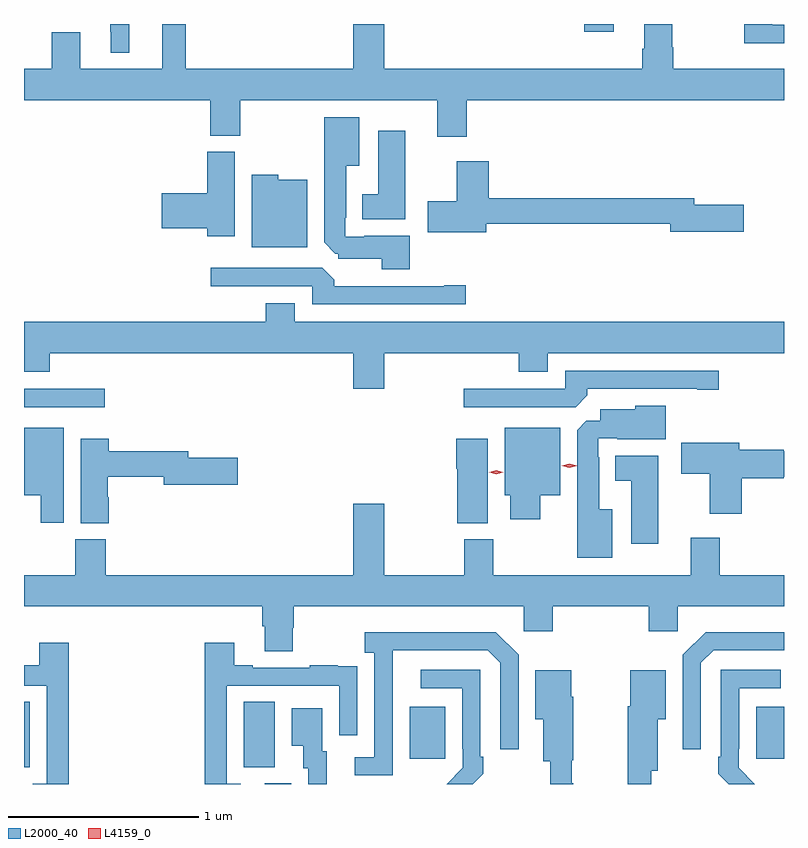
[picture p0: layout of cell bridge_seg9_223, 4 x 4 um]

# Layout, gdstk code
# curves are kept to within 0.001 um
import gdstk
lib = gdstk.Library(unit=1e-6, precision=1e-09)
def R(c, l, rs):  # rectangles x0, y0, x1, y1
    for r in rs: c.add(gdstk.rectangle(r[:2], r[2:], *l))
def P(c, l, *ps):  # polygons
    for p in ps: c.add(gdstk.Polygon(p, *l))
L2000_40 = (2000, 40)
L4159_0 = (4159, 0)

bridge_seg9_223 = lib.new_cell('bridge_seg9_223')
R(bridge_seg9_223, L2000_40, [(188.519,1203.476,188.659,1203.48), (187.252,1203.565,187.282,1203.908), (188.408,1203.565,188.572,1203.908), (189.281,1203.609,189.469,1203.883), (191.105,1203.609,191.252,1203.883), (187.252,1205.46,187.678,1205.556), (190.201,1207.434,190.357,1207.476)])
P(bridge_seg9_223, L2000_40, [(187.807,1207.476),(187.705,1207.476),(187.705,1207.435),(187.709,1207.435),(187.709,1207.325),(187.807,1207.325)],
  [(191.252,1207.473),(191.191,1207.473),(191.191,1207.476),(191.043,1207.476),(191.043,1207.376),(191.252,1207.376)],
  [(189.581,1207.076),(191.252,1207.076),(191.252,1207.24),(190.67,1207.24),(190.67,1207.353),(190.665,1207.353),(190.665,1207.476),(190.517,1207.476),(190.517,1207.346),(190.505,1207.346),(190.505,1207.24),(189.148,1207.24),(189.148,1207.476),(188.984,1207.476),(188.984,1207.24),(188.102,1207.24),(188.102,1207.476),(187.979,1207.476),(187.979,1207.24),(187.549,1207.24),(187.549,1207.432),(187.397,1207.432),(187.397,1207.24),(187.252,1207.24),(187.252,1207.076),(188.231,1207.076),(188.231,1206.889),(188.391,1206.889),(188.391,1207.076),(189.428,1207.076),(189.428,1206.882),(189.581,1206.882)],
  [(189.283,1206.361),(189.043,1206.361),(189.043,1206.357),(188.943,1206.357),(188.943,1206.457),(188.947,1206.457),(188.947,1206.731),(189.016,1206.731),(189.016,1206.985),(188.831,1206.985),(188.831,1206.327),(188.891,1206.267),(188.907,1206.267),(188.907,1206.24),(189.134,1206.24),(189.134,1206.185),(189.283,1206.185)],
  [(189.259,1206.913),(189.116,1206.913),(189.116,1206.58),(189.032,1206.58),(189.032,1206.449),(189.259,1206.449)],
  [(188.362,1206.804),(188.216,1206.804),(188.216,1206.584),(187.977,1206.584),(187.977,1206.401),(188.216,1206.401),(188.216,1206.36),(188.362,1206.36)],
  [(189.685,1206.424),(190.652,1206.424),(190.652,1206.382),(191.041,1206.382),(191.041,1206.524),(190.78,1206.524),(190.78,1206.56),(189.698,1206.56),(189.698,1206.754),(189.53,1206.754),(189.53,1206.543),(189.378,1206.543),(189.378,1206.38),(189.685,1206.38)],
  [(188.743,1206.655),(188.589,1206.655),(188.589,1206.682),(188.45,1206.682),(188.45,1206.302),(188.743,1206.302)],
  [(189.577,1206.101),(189.464,1206.101),(189.464,1206.096),(188.885,1206.096),(188.885,1206.13),(188.823,1206.192),(188.235,1206.192),(188.235,1206.096),(188.769,1206.096),(188.769,1206),(189.577,1206)],
  [(189.148,1205.744),(189.857,1205.744),(189.857,1205.645),(190.009,1205.645),(190.009,1205.744),(191.252,1205.744),(191.252,1205.908),(188.677,1205.908),(188.677,1206.007),(188.525,1206.007),(188.525,1205.908),(187.252,1205.908),(187.252,1205.645),(187.388,1205.645),(187.388,1205.744),(188.984,1205.744),(188.984,1205.556),(189.148,1205.556)],
  [(190.217,1205.522),(190.217,1205.556),(190.796,1205.556),(190.796,1205.551),(190.909,1205.551),(190.909,1205.652),(190.101,1205.652),(190.101,1205.556),(189.567,1205.556),(189.567,1205.46),(190.155,1205.46)],
  [(190.348,1204.921),(190.279,1204.921),(190.279,1205.195),(190.275,1205.195),(190.275,1205.295),(190.375,1205.295),(190.375,1205.291),(190.63,1205.291),(190.63,1205.467),(190.47,1205.467),(190.47,1205.449),(190.286,1205.449),(190.286,1205.388),(190.212,1205.388),(190.163,1205.339),(190.163,1204.667),(190.348,1204.667)],
  [(189.97,1204.997),(190.075,1204.997),(190.075,1205.35),(189.782,1205.35),(189.782,1204.997),(189.812,1204.997),(189.812,1204.869),(189.97,1204.869)],
  [(187.462,1205.35),(187.252,1205.35),(187.252,1204.997),(187.34,1204.997),(187.34,1204.851),(187.462,1204.851)],
  [(189.694,1205.293),(189.527,1205.293),(189.527,1205.135),(189.532,1205.135),(189.532,1204.849),(189.694,1204.849)],
  [(187.697,1204.985),(187.692,1204.985),(187.692,1205.092),(187.988,1205.092),(187.988,1205.05),(188.377,1205.05),(188.377,1205.192),(188.116,1205.192),(188.116,1205.228),(187.697,1205.228),(187.697,1205.293),(187.55,1205.293),(187.55,1204.849),(187.697,1204.849)],
  [(191.03,1205.084),(191.25,1205.084),(191.25,1205.092),(191.252,1205.092),(191.252,1205.228),(191.25,1205.228),(191.25,1205.236),(191.017,1205.236),(191.017,1205.272),(190.71,1205.272),(190.71,1205.11),(190.862,1205.11),(190.862,1204.899),(191.03,1204.899)],
  [(190.591,1205.203),(190.364,1205.203),(190.364,1205.072),(190.448,1205.072),(190.448,1204.74),(190.591,1204.74)],
  [(188.667,1204.299),(188.672,1204.299),(188.672,1204.412),(189.882,1204.412),(189.882,1204.281),(190.034,1204.281),(190.034,1204.412),(190.541,1204.412),(190.541,1204.281),(190.692,1204.281),(190.692,1204.412),(191.252,1204.412),(191.252,1204.576),(190.913,1204.576),(190.913,1204.771),(190.76,1204.771),(190.76,1204.576),(189.723,1204.576),(189.723,1204.764),(189.568,1204.764),(189.568,1204.576),(189.148,1204.576),(189.148,1204.951),(188.984,1204.951),(188.984,1204.576),(187.682,1204.576),(187.682,1204.764),(187.522,1204.764),(187.522,1204.576),(187.252,1204.576),(187.252,1204.412),(188.507,1204.412),(188.507,1204.306),(188.519,1204.306),(188.519,1204.174),(188.667,1204.174)],
  [(189.192,1203.979),(189.193,1204.179),(189.693,1204.179),(189.759,1204.113),(189.759,1203.66),(189.855,1203.66),(189.855,1204.155),(189.734,1204.276),(189.045,1204.276),(189.045,1204.166),(189.096,1204.166),(189.096,1203.618),(188.994,1203.618),(188.994,1203.522),(189.192,1203.522)],
  [(190.815,1204.113),(190.881,1204.179),(191.252,1204.179),(191.252,1204.276),(190.84,1204.276),(190.719,1204.155),(190.719,1203.66),(190.815,1203.66)],
  [(187.487,1204.219),(187.331,1204.219),(187.331,1204.102),(187.252,1204.102),(187.252,1203.993),(187.371,1203.993),(187.371,1203.477),(187.299,1203.477),(187.299,1203.476),(187.487,1203.476)],
  [(188.392,1203.477),(188.319,1203.477),(188.319,1203.993),(188.91,1203.993),(188.91,1203.732),(189.006,1203.732),(189.006,1203.986),(189.005,1203.986),(189.005,1204.095),(188.903,1204.095),(188.903,1204.102),(188.755,1204.102),(188.755,1204.089),(188.455,1204.089),(188.455,1204.102),(188.359,1204.102),(188.359,1204.219),(188.203,1204.219),(188.203,1203.476),(188.392,1203.476)],
  [(189.669,1203.531),(189.669,1203.619),(189.654,1203.619),(189.654,1204.077),(189.339,1204.077),(189.339,1203.981),(189.558,1203.981),(189.558,1203.661),(189.561,1203.661),(189.561,1203.561),(189.476,1203.476),(189.614,1203.476)],
  [(191.013,1203.561),(191.013,1203.661),(191.016,1203.661),(191.016,1203.981),(191.236,1203.981),(191.236,1204.077),(190.92,1204.077),(190.92,1203.619),(190.905,1203.619),(190.905,1203.531),(190.96,1203.476),(191.099,1203.476)],
  [(190.552,1203.545),(190.588,1203.545),(190.588,1203.818),(190.63,1203.818),(190.63,1204.075),(190.442,1204.075),(190.442,1203.885),(190.43,1203.885),(190.43,1203.476),(190.552,1203.476)],
  [(190.144,1203.479),(190.136,1203.479),(190.136,1203.6),(190.144,1203.6),(190.144,1203.936),(190.132,1203.936),(190.132,1204.075),(189.944,1204.075),(189.944,1203.818),(189.986,1203.818),(189.986,1203.596),(190.023,1203.596),(190.023,1203.476),(190.144,1203.476)],
  [(188.845,1203.648),(188.821,1203.648),(188.821,1203.874),(188.66,1203.874),(188.66,1203.677),(188.723,1203.677),(188.723,1203.558),(188.748,1203.558),(188.748,1203.476),(188.845,1203.476)])
P(bridge_seg9_223, L4159_0, [(190.123,1205.141),(190.081,1205.151),(190.081,1205.151),(190.081,1205.151),(190.123,1205.161),(190.164,1205.151),(190.164,1205.151),(190.164,1205.151)],
  [(189.737,1205.107),(189.7,1205.117),(189.699,1205.117),(189.7,1205.117),(189.737,1205.127),(189.774,1205.117),(189.775,1205.117),(189.774,1205.117)])

lib.write_gds('bridge_seg9_223.gds')
